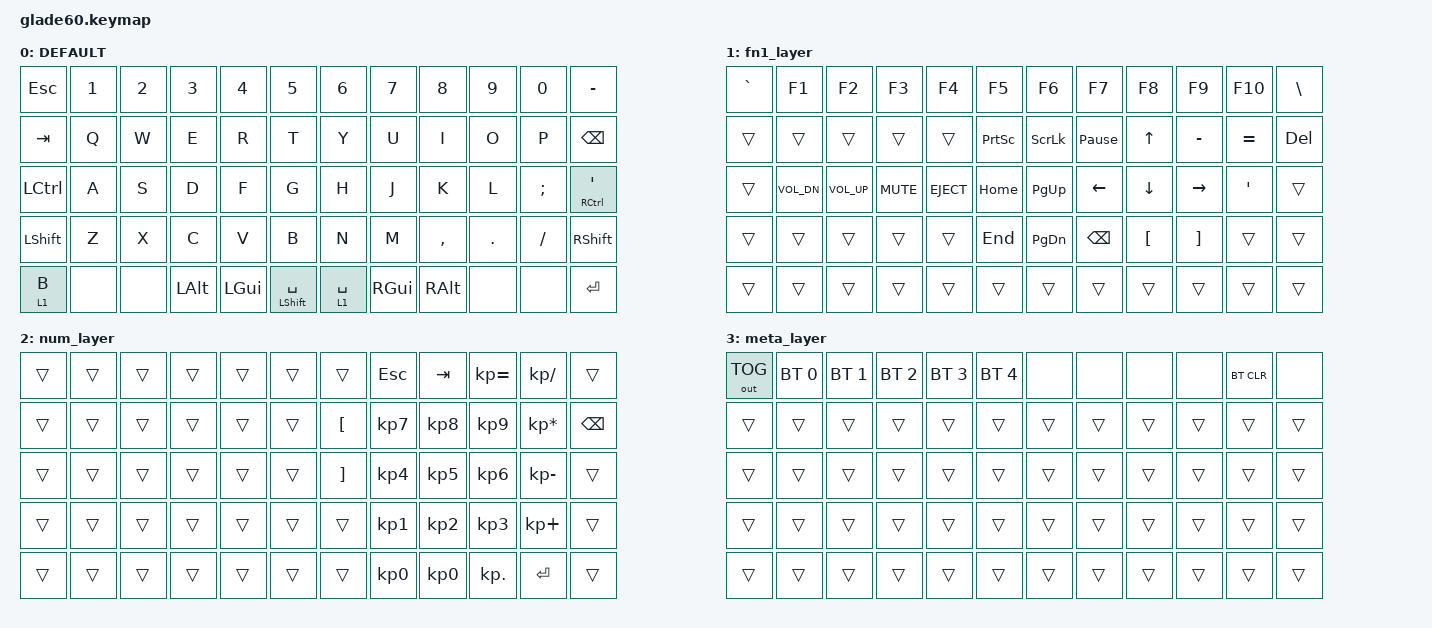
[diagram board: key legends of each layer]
#include <behaviors.dtsi>
#include <dt-bindings/zmk/keys.h>
#include <dt-bindings/zmk/outputs.h>
#include <dt-bindings/zmk/bt.h>

/ {
    conditional_layers {
        compatible = "zmk,conditional-layers";

        tri_layer {
            if-layers = <1 2>;
            then-layer = <3>;
        };
    };

    keymap {
        compatible = "zmk,keymap";

        default_layer {
            bindings = <
   &kp ESC  &kp N1  &kp N2        &kp N3    &kp N4           &kp N5       &kp N6    &kp N7     &kp N8   &kp N9    &kp N0      &kp MINUS
   &kp TAB   &kp Q   &kp W         &kp E     &kp R            &kp T        &kp Y     &kp U      &kp I    &kp O     &kp P       &kp BSPC
 &kp LCTRL   &kp A   &kp S         &kp D     &kp F            &kp G        &kp H     &kp J      &kp K    &kp L  &kp SEMI  &mt RCTRL SQT
&kp LSHIFT   &kp Z   &kp X         &kp C     &kp V            &kp B        &kp N     &kp M  &kp COMMA  &kp DOT  &kp FSLH     &kp RSHIFT
   &lt 1 B   &none   &none  &kp LEFT_ALT  &kp LGUI  &mt LSHFT SPACE  &lt 1 SPACE  &kp RGUI   &kp RALT    &none     &none        &kp RET
            >;

            label = "DEFAULT";
        };

        fn1_layer {
            bindings = <
&kp GRAVE        &kp F1        &kp F2      &kp F3       &kp F4           &kp F5          &kp F6           &kp F7    &kp F8     &kp F9    &kp F10  &kp BSLH
   &trans        &trans        &trans      &trans       &trans  &kp PRINTSCREEN  &kp SCROLLLOCK  &kp PAUSE_BREAK    &kp UP  &kp MINUS  &kp EQUAL   &kp DEL
   &trans  &kp C_VOL_DN  &kp C_VOL_UP  &kp K_MUTE  &kp C_EJECT         &kp HOME       &kp PG_UP         &kp LEFT  &kp DOWN  &kp RIGHT    &kp SQT    &trans
   &trans        &trans        &trans      &trans       &trans          &kp END       &kp PG_DN         &kp BSPC  &kp LBKT   &kp RBKT     &trans    &trans
   &trans        &trans        &trans      &trans       &trans           &trans          &trans           &trans    &trans     &trans     &trans    &trans
            >;
        };

        num_layer {
            bindings = <
&trans  &trans  &trans  &trans  &trans  &trans   &trans     &kp ESC    &kp TAB  &kp KP_EQUAL    &kp KP_DIVIDE    &trans
&trans  &trans  &trans  &trans  &trans  &trans &kp LBKT   &kp KP_N7  &kp KP_N8     &kp KP_N9  &kp KP_MULTIPLY  &kp BSPC
&trans  &trans  &trans  &trans  &trans  &trans &kp RBKT   &kp KP_N4  &kp KP_N5     &kp KP_N6     &kp KP_MINUS    &trans
&trans  &trans  &trans  &trans  &trans  &trans   &trans   &kp KP_N1  &kp KP_N2     &kp KP_N3      &kp KP_PLUS    &trans
&trans  &trans  &trans  &trans  &trans  &trans   &trans   &kp KP_N0  &kp KP_N0    &kp KP_DOT        &kp ENTER    &trans
            >;
        };

        meta_layer {
            bindings = <
&out OUT_TOG  &bt BT_SEL 0  &bt BT_SEL 1  &bt BT_SEL 2  &bt BT_SEL 3  &bt BT_SEL 4   &none   &none   &none   &none  &bt BT_CLR   &none
      &trans        &trans        &trans        &trans        &trans        &trans  &trans  &trans  &trans  &trans      &trans  &trans
      &trans        &trans        &trans        &trans        &trans        &trans  &trans  &trans  &trans  &trans      &trans  &trans
      &trans        &trans        &trans        &trans        &trans        &trans  &trans  &trans  &trans  &trans      &trans  &trans
      &trans        &trans        &trans        &trans        &trans        &trans  &trans  &trans  &trans  &trans      &trans  &trans
            >;
        };
    };
};
